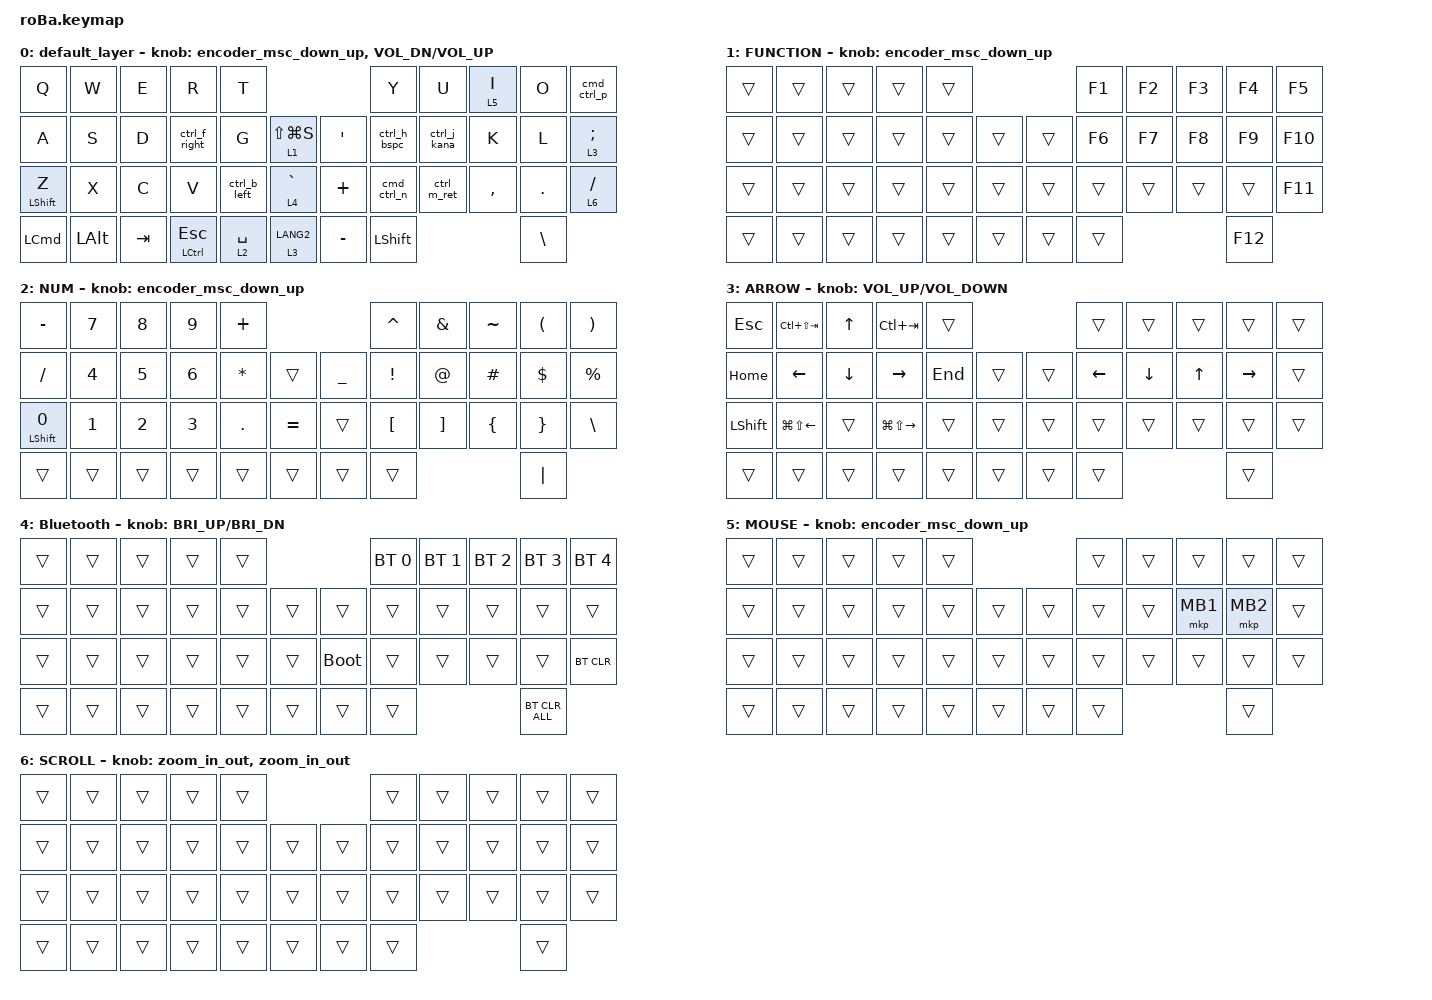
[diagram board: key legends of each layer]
#include <behaviors.dtsi>
#include <dt-bindings/zmk/bt.h>
#include <dt-bindings/zmk/keys.h>
#include <dt-bindings/zmk/modifiers.h>
#include <dt-bindings/zmk/pointing.h>

#define ZMK_POINTING_DEFAULT_SCRL_VAL 80

&mt {
    flavor = "balanced";
    quick-tap-ms = <0>;
};

&lt {
    flavor = "balanced";
    tapping-term-ms = <200>;
};

/ {
    combos {
        compatible = "zmk,combos";
        timeout-ms = <20>; // default is 30ms

        tab {
            bindings = <&kp TAB>;
            key-positions = <11 12>;
        };

        shift_tab {
            bindings = <&kp LS(TAB)>;
            key-positions = <12 13>;
        };

        double_quotation {
            bindings = <&kp DOUBLE_QUOTES>;
            key-positions = <16 17>;
        };

        eq {
            bindings = <&kp EQUAL>;
            key-positions = <24 25>;
        };

        rigtht_click {
            bindings = <&mkp RCLK>;
            key-positions = <19 20>;
        };

        left_click {
            bindings = <&mkp LCLK>;
            key-positions = <18 19>;
        };
    };

    macros {
        to_layer_0: to_layer_0 {
            compatible = "zmk,behavior-macro-one-param";
            #binding-cells = <1>;
            bindings = <&to 0 &macro_param_1to1 &kp MACRO_PLACEHOLDER>;
            label = "TO_LAYER_0";
        };

    };

    behaviors {
        lt_to_layer_0: lt_to_layer_0 {
            compatible = "zmk,behavior-hold-tap";
            label = "LAYER_TAP_TO_0";
            bindings = <&mo>, <&to_layer_0>;

            #binding-cells = <2>;
            tapping-term-ms = <200>;
        };

        encoder_msc_down_up: encoder_msc_down_up {
            compatible = "zmk,behavior-sensor-rotate";
            label = "ENCODER_MSC_DOWN_UP";
            #sensor-binding-cells = <0>;
            bindings = <&msc SCRL_UP>, <&msc SCRL_DOWN>;

            tap-ms = <20>;
        };

        zoom_in_out: zoom_in_out {
            compatible = "zmk,behavior-sensor-rotate";
            #sensor-binding-cells = <0>;
            bindings = <&kp LG(EQUAL)>, <&kp LG(MINUS)>;

            tap-ms = <20>;
        };

        ctrl_h_bspc: ctrl_h_bspc {
            compatible = "zmk,behavior-mod-morph";
            #binding-cells = <0>;
            bindings = <&kp H>, <&kp BACKSPACE>;
            mods = <(MOD_LCTL|MOD_RCTL)>;
        };

        ctrl_f_right: ctrl_f_right {
            compatible = "zmk,behavior-mod-morph";
            #binding-cells = <0>;
            bindings = <&kp F>, <&kp RIGHT>;
            mods = <(MOD_LCTL|MOD_RCTL)>;
        };

        ctrl_b_left: ctrl_b_left {
            compatible = "zmk,behavior-mod-morph";
            #binding-cells = <0>;
            bindings = <&kp B>, <&kp LEFT>;
            mods = <(MOD_LCTL|MOD_RCTL)>;
        };

        ctrl_n_down: ctrl_n_down {
            compatible = "zmk,behavior-mod-morph";
            #binding-cells = <0>;
            bindings = <&kp N>, <&kp DOWN>;
            mods = <(MOD_LCTL|MOD_RCTL)>;
        };

        ctrl_p_up: ctrl_p_up {
            compatible = "zmk,behavior-mod-morph";
            #binding-cells = <0>;
            bindings = <&kp P>, <&kp UP>;
            mods = <(MOD_LCTL|MOD_RCTL)>;
        };

        ctrl_j_kana: ctrl_j_kana {
            compatible = "zmk,behavior-mod-morph";
            #binding-cells = <0>;
            bindings = <&kp J>, <&kp LANG1>;
            mods = <(MOD_LCTL|MOD_RCTL)>;
        };

        ctrl_m_ret: ctrl_m_ret {
            compatible = "zmk,behavior-mod-morph";
            #binding-cells = <0>;
            bindings = <&kp M>, <&kp RET>;
            mods = <(MOD_LCTL|MOD_RCTL)>;
        };

        // Cmd 押下時は morph を無効化し、素の N/P を送って cmd+ctrl+n/p を OS に届ける
        cmd_ctrl_n: cmd_ctrl_n {
            compatible = "zmk,behavior-mod-morph";
            #binding-cells = <0>;
            bindings = <&ctrl_n_down>, <&kp N>;
            mods = <(MOD_LGUI|MOD_RGUI)>;
            keep-mods = <(MOD_LGUI|MOD_RGUI)>;
        };

        cmd_ctrl_p: cmd_ctrl_p {
            compatible = "zmk,behavior-mod-morph";
            #binding-cells = <0>;
            bindings = <&ctrl_p_up>, <&kp P>;
            mods = <(MOD_LGUI|MOD_RGUI)>;
            keep-mods = <(MOD_LGUI|MOD_RGUI)>;
        };

    };

    keymap {
        compatible = "zmk,keymap";

        default_layer {
            bindings = <
&kp Q             &kp W         &kp E    &kp R                    &kp T                                                    &kp Y      &kp U    &lt 5 I  &kp O    &cmd_ctrl_p
&kp A             &kp S         &kp D    &ctrl_f_right            &kp G        &lt 1 LS(LG(S))       &kp SQT                &ctrl_h_bspc  &ctrl_j_kana  &kp K    &kp L    &lt 3 SEMI
&mt LEFT_SHIFT Z  &kp X         &kp C    &kp V                    &ctrl_b_left &lt 4 GRAVE           &kp PLUS               &cmd_ctrl_n  &ctrl_m_ret  &kp COMMA  &kp DOT  &lt 6 SLASH
&kp LEFT_COMMAND  &kp LEFT_ALT  &kp TAB  &mt LEFT_CONTROL ESCAPE  &lt 2 SPACE  &lt 3 LANG2    &kp MINUS              &kp LEFT_SHIFT                                &kp BACKSLASH
            >;

            sensor-bindings =
                <&encoder_msc_down_up>,
                <&inc_dec_kp C_VOL_DN C_VOL_UP>;
        };

        FUNCTION {
            bindings = <
&trans  &trans  &trans  &trans  &trans                              &kp F1  &kp F2  &kp F3  &kp F4  &kp F5
&trans  &trans  &trans  &trans  &trans  &trans      &trans  &kp F6  &kp F7  &kp F8  &kp F9  &kp F10
&trans  &trans  &trans  &trans  &trans  &trans      &trans  &trans  &trans  &trans  &trans  &kp F11
&trans  &trans  &trans  &trans  &trans  &trans      &trans  &trans                          &kp F12
            >;

            sensor-bindings = <&encoder_msc_down_up>;
        };

        NUM {
            bindings = <
&kp MINUS  &kp N7  &kp N8  &kp N9  &kp PLUS                                     &kp CARET       &kp AMPERSAND  &kp TILDE       &kp LEFT_PARENTHESIS  &kp RIGHT_PARENTHESIS
&kp SLASH  &kp N4  &kp N5  &kp N6  &kp ASTERISK          &trans                 &kp UNDERSCORE  &kp EXCLAMATION  &kp AT_SIGN  &kp HASH              &kp DOLLAR             &kp PERCENT
&mt LEFT_SHIFT N0  &kp N1  &kp N2  &kp N3  &kp PERIOD  &kp EQUAL          &trans  &kp LEFT_BRACKET  &kp RIGHT_BRACKET  &kp LEFT_BRACE  &kp RIGHT_BRACE  &kp BACKSLASH
&trans     &trans  &trans  &trans  &trans  &trans      &trans            &trans                                                                     &kp PIPE
            >;

            sensor-bindings = <&encoder_msc_down_up>;
        };

        ARROW {
            bindings = <
&kp ESCAPE      &kp LC(LS(TAB))         &kp UP_ARROW    &kp LC(TAB)              &trans                              &trans          &trans          &trans        &trans           &trans
&kp HOME        &kp LEFT_ARROW          &kp DOWN_ARROW  &kp RIGHT_ARROW          &kp END            &trans   &trans  &kp LEFT_ARROW  &kp DOWN_ARROW  &kp UP_ARROW  &kp RIGHT_ARROW  &trans
&kp LEFT_SHIFT  &kp LG(LS(LEFT_ARROW))  &trans          &kp LG(LS(RIGHT_ARROW))  &trans   &trans    &trans           &trans          &trans          &trans        &trans           &trans
&trans          &trans                  &trans          &trans                   &trans   &trans    &trans           &trans                                                          &trans
            >;

            sensor-bindings = <&inc_dec_kp C_VOLUME_UP C_VOLUME_DOWN>;
        };

        Bluetooth {
            bindings = <
&trans  &trans        &trans        &trans        &trans                                   &bt BT_SEL 0  &bt BT_SEL 1  &bt BT_SEL 2  &bt BT_SEL 3  &bt BT_SEL 4
&trans  &trans        &trans        &trans        &trans  &trans      &trans        &trans  &trans        &trans        &trans        &trans
&trans  &trans        &trans        &trans        &trans  &trans      &bootloader   &trans  &trans        &trans        &trans        &bt BT_CLR
&trans  &trans        &trans        &trans        &trans  &trans      &trans        &trans                                            &bt BT_CLR_ALL
            >;

            sensor-bindings = <&inc_dec_kp C_BRI_UP C_BRI_DN>;
        };

        MOUSE {
            bindings = <
&trans  &trans  &trans  &trans  &trans                    &trans  &trans    &trans    &trans    &trans
&trans  &trans  &trans  &trans  &trans  &trans    &trans  &trans  &trans    &mkp MB1  &mkp MB2  &trans
&trans  &trans  &trans  &trans  &trans  &trans    &trans  &trans  &trans    &trans    &trans    &trans
&trans  &trans  &trans  &trans  &trans  &trans    &trans  &trans                                &trans
            >;

            sensor-bindings = <&encoder_msc_down_up>;
        };

        SCROLL {
            bindings = <
&trans  &trans  &trans  &trans  &trans                    &trans  &trans  &trans  &trans  &trans
&trans  &trans  &trans  &trans  &trans  &trans    &trans  &trans  &trans  &trans  &trans  &trans
&trans  &trans  &trans  &trans  &trans  &trans    &trans  &trans  &trans  &trans  &trans  &trans
&trans  &trans  &trans  &trans  &trans  &trans    &trans  &trans                          &trans
            >;

            sensor-bindings = <&zoom_in_out>, <&zoom_in_out>;
        };
    };
};
